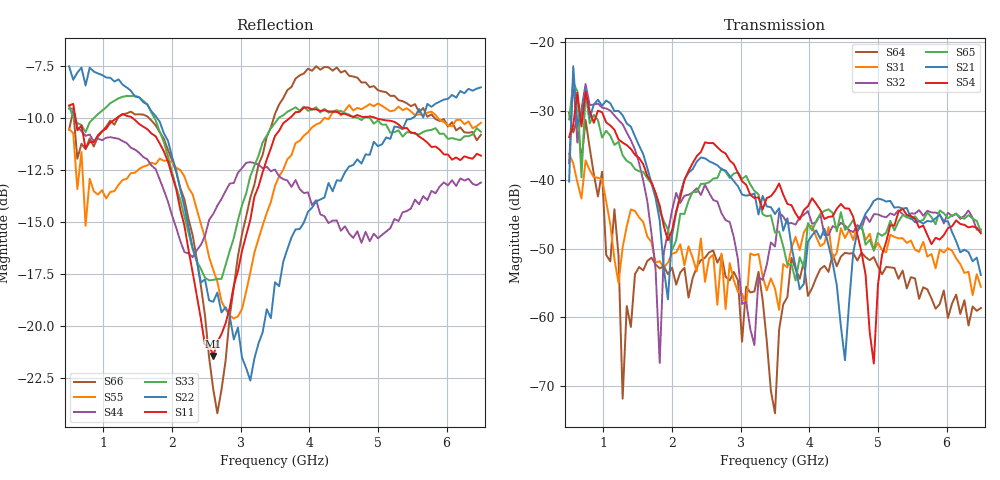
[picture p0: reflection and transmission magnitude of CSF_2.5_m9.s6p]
!Keysight Technologies,M9804A,MY58100912,A.14.10.03
!Date: Thursday, April 27, 2023 10:28:33
!Correction: S11(C  6-Port  )
!S12(C  6-Port  )
!S13(C  6-Port  )
!S14(C  6-Port  )
!S15(C  6-Port  )
!S16(C  6-Port  )
!S21(C  6-Port  )
!S22(C  6-Port  )
!S23(C  6-Port  )
!S24(C  6-Port  )
!S25(C  6-Port  )
!S26(C  6-Port  )
!S31(C  6-Port  )
!S32(C  6-Port  )
!S33(C  6-Port  )
!S34(C  6-Port  )
!S35(C  6-Port  )
!S36(C  6-Port  )
!S41(C  6-Port  )
!S42(C  6-Port  )
!S43(C  6-Port  )
!S44(C  6-Port  )
!S45(C  6-Port  )
!S46(C  6-Port  )
!S51(C  6-Port  )
!S52(C  6-Port  )
!S53(C  6-Port  )
!S54(C  6-Port  )
!S55(C  6-Port  )
!S56(C  6-Port  )
!S61(C  6-Port  )
!S62(C  6-Port  )
!S63(C  6-Port  )
!S64(C  6-Port  )
!S65(C  6-Port  )
!S66(C  6-Port  )
!S6P File: Measurement: :
# Hz S  RI  R 50
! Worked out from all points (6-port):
!   101 points, 500 MHz to 6.5 GHz, reference 50 ohm
!   strongest paths, dB at 500 MHz, 2 GHz, 3.5 GHz, 5 GHz, 6.5 GHz:
!     S54: -33.8, -47.3, -41.6, -55.3, -47.8
!     S21: -40.3, -48.1, -45.0, -42.7, -53.8
!     S65: -31.2, -50.2, -47.7, -47.7, -47.5
!     S32: -37.6, -44.5, -49.7, -45.0, -47.2
!     S31: -36.2, -50.7, -55.8, -49.2, -55.5
!     S64: -30.3, -52.8, -73.9, -52.6, -58.6
!   lowest |S11| = -21.4 dB at 2.6 GHz (marker M1), VSWR 1.19, Z = 42.5 + j2.15 ohm
!   |S11| at or under -10 dB: 592.3 MHz to 1.192 GHz (599.2 MHz wide, 67.2 % of centre); 1.426 GHz to 3.713 GHz (2.287 GHz wide, 89 % of centre); 4.972 GHz to end of sweep
